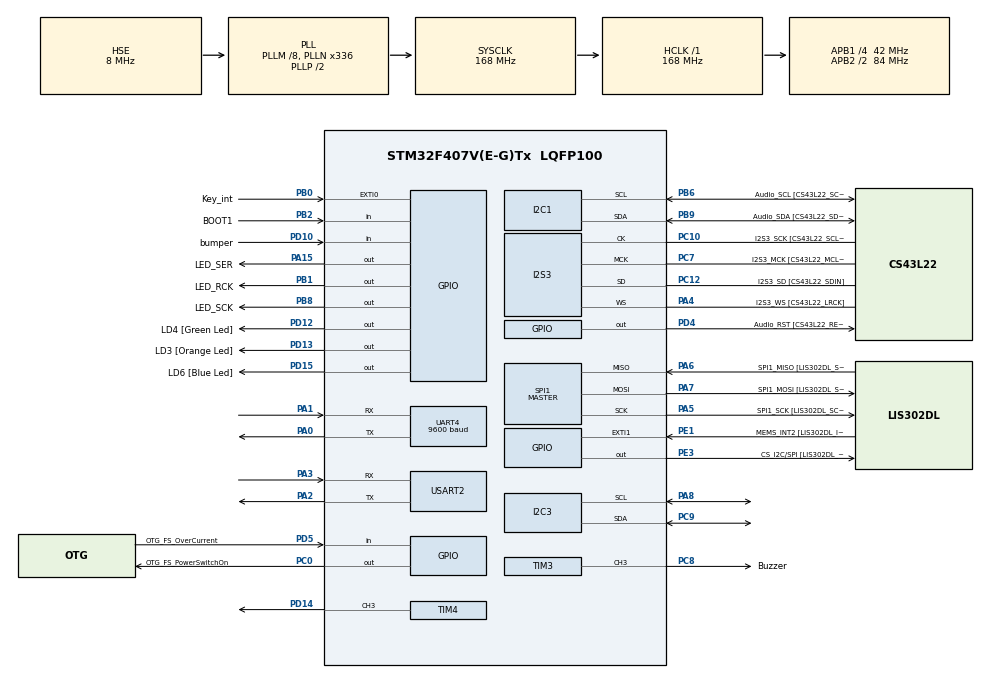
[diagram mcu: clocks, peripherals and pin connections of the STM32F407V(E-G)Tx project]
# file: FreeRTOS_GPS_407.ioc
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FREERTOS.INCLUDE_pcTaskGetTaskName=1
FREERTOS.INCLUDE_xEventGroupSetBitFromISR=1
FREERTOS.INCLUDE_xTaskGetHandle=1
FREERTOS.Tasks01=defaultTask,24,128,StartDefaultTask,Default,NULL,Dynamic,NULL,NULL
FREERTOS.configUSE_NEWLIB_REENTRANT=1
I2S3.AudioFreq-Half_Duplex_Master=I2S_AUDIOFREQ_96K
I2S3.ErrorAudioFreq=-2.34 %
I2S3.ErrorAudioFreq-Half_Duplex_Master=0.8 %
I2S3.FullDuplexMode=I2S_FULLDUPLEXMODE_DISABLE
I2S3.Instance=SPI$Index
I2S3.RealAudioFreq=93.75 KHz
I2S3.RealAudioFreq-Half_Duplex_Master=96.774 KHz
I2S3.VirtualMode=I2S_MODE_MASTER
Mcu.Family=STM32F4
Mcu.Name=STM32F407V(E-G)Tx
Mcu.Package=LQFP100
NVIC.EXTI0_IRQn=true\:5\:0\:false\:false\:true\:true\:true\:true\:true
NVIC.PriorityGroup=NVIC_PRIORITYGROUP_4
NVIC.TIM1_UP_TIM10_IRQn=true\:0\:0\:false\:false\:true\:false\:false\:true\:true
NVIC.TimeBase=TIM1_UP_TIM10_IRQn
NVIC.TimeBaseIP=TIM1
NVIC.UART4_IRQn=true\:5\:0\:false\:false\:true\:true\:true\:true\:true
NVIC.USART2_IRQn=true\:5\:0\:false\:false\:true\:true\:true\:true\:true
PA0-WKUP.Mode=Asynchronous
PA0-WKUP.Signal=UART4_TX
PA1.Mode=Asynchronous
PA1.Signal=UART4_RX
PA10.GPIO_Label=OTG_FS_ID
PA10.GPIO_Mode=GPIO_MODE_AF_PP
PA10.GPIO_PuPd=GPIO_NOPULL
PA10.GPIO_Speed=GPIO_SPEED_FREQ_LOW
PA10.Signal=USB_OTG_FS_ID
PA11.GPIO_Label=OTG_FS_DM
PA11.GPIO_Mode=GPIO_MODE_AF_PP
PA11.GPIO_PuPd=GPIO_NOPULL
PA11.GPIO_Speed=GPIO_SPEED_FREQ_LOW
PA11.Signal=USB_OTG_FS_DM
PA12.GPIO_Label=OTG_FS_DP
PA12.GPIO_Mode=GPIO_MODE_AF_PP
PA12.GPIO_PuPd=GPIO_NOPULL
PA12.GPIO_Speed=GPIO_SPEED_FREQ_LOW
PA12.Signal=USB_OTG_FS_DP
PA13.GPIO_Label=SWDIO
PA13.Mode=Serial_Wire
PA13.Signal=SYS_JTMS-SWDIO
PA14.GPIO_Label=SWCLK
PA14.Mode=Serial_Wire
PA14.Signal=SYS_JTCK-SWCLK
PA15.GPIO_Label=LED_SER
PA15.Signal=GPIO_Output
PA2.Mode=Asynchronous
PA2.Signal=USART2_TX
PA3.Mode=Asynchronous
PA3.Signal=USART2_RX
PA4.GPIO_Label=I2S3_WS [CS43L22_LRCK]
PA4.GPIO_Mode=GPIO_MODE_AF_PP
PA4.GPIO_PuPd=GPIO_NOPULL
PA4.GPIO_Speed=GPIO_SPEED_FREQ_LOW
PA4.Mode=Half_Duplex_Master
PA4.Signal=I2S3_WS
PA5.GPIO_Label=SPI1_SCK [LIS302DL_SCL/SPC]
PA5.GPIO_Mode=GPIO_MODE_AF_PP
PA5.GPIO_PuPd=GPIO_NOPULL
PA5.GPIO_Speed=GPIO_SPEED_FREQ_LOW
PA5.Mode=Full_Duplex_Master
PA5.Signal=SPI1_SCK
PA6.GPIO_Label=SPI1_MISO [LIS302DL_SDO]
PA6.GPIO_Mode=GPIO_MODE_AF_PP
PA6.GPIO_PuPd=GPIO_NOPULL
PA6.GPIO_Speed=GPIO_SPEED_FREQ_LOW
PA6.Mode=Full_Duplex_Master
PA6.Signal=SPI1_MISO
PA7.GPIO_Label=SPI1_MOSI [LIS302DL_SDA/SDI/SDO]
PA7.GPIO_Mode=GPIO_MODE_AF_PP
PA7.GPIO_PuPd=GPIO_NOPULL
PA7.GPIO_Speed=GPIO_SPEED_FREQ_LOW
PA7.Mode=Full_Duplex_Master
PA7.Signal=SPI1_MOSI
PA8.Mode=I2C
PA8.Signal=I2C3_SCL
PA9.GPIO_Label=VBUS_FS
PA9.GPIO_Mode=GPIO_MODE_INPUT
PA9.GPIO_PuPd=GPIO_NOPULL
PA9.Signal=USB_OTG_FS_VBUS
PB0.GPIO_Label=Key_int
PB0.Signal=GPXTI0
PB1.GPIO_Label=LED_RCK
PB1.Signal=GPIO_Output
PB10.GPIO_Label=CLK_IN [MP45DT02_CLK]
PB10.GPIO_Mode=GPIO_MODE_AF_PP
PB10.GPIO_PuPd=GPIO_NOPULL
PB10.GPIO_Speed=GPIO_SPEED_FREQ_LOW
PB10.Signal=I2S2_CK
PB2.GPIO_Label=BOOT1
PB2.GPIO_Mode=GPIO_MODE_INPUT
PB2.GPIO_PuPd=GPIO_NOPULL
PB2.Signal=GPIO_Input
PB3.GPIO_Label=SWO
PB3.Signal=SYS_JTDO-SWO
PB6.GPIO_Label=Audio_SCL [CS43L22_SCL]
PB6.GPIO_Mode=GPIO_MODE_AF_OD
PB6.GPIO_Pu=GPIO_PULLUP
PB6.GPIO_PuPd=GPIO_NOPULL
PB6.GPIO_Speed=GPIO_SPEED_FREQ_LOW
PB6.Mode=I2C
PB6.Signal=I2C1_SCL
PB8.GPIO_Label=LED_SCK
PB8.Signal=GPIO_Output
PB9.GPIO_Label=Audio_SDA [CS43L22_SDA]
PB9.GPIO_Mode=GPIO_MODE_AF_OD
PB9.GPIO_Pu=GPIO_PULLUP
PB9.GPIO_PuPd=GPIO_NOPULL
PB9.GPIO_Speed=GPIO_SPEED_FREQ_LOW
PB9.Mode=I2C
PB9.Signal=I2C1_SDA
PC0.GPIO_Label=OTG_FS_PowerSwitchOn
PC0.GPIO_PuPd=GPIO_NOPULL
PC0.GPIO_Speed=GPIO_SPEED_FREQ_LOW
PC0.PinState=GPIO_PIN_SET
PC0.Signal=GPIO_Output
PC10.GPIO_Label=I2S3_SCK [CS43L22_SCLK]
PC10.GPIO_Mode=GPIO_MODE_AF_PP
PC10.GPIO_PuPd=GPIO_NOPULL
PC10.GPIO_Speed=GPIO_SPEED_FREQ_LOW
PC10.Mode=Half_Duplex_Master
PC10.Signal=I2S3_CK
PC12.GPIO_Label=I2S3_SD [CS43L22_SDIN]
PC12.GPIO_Mode=GPIO_MODE_AF_PP
PC12.GPIO_PuPd=GPIO_NOPULL
PC12.GPIO_Speed=GPIO_SPEED_FREQ_LOW
PC12.Mode=Half_Duplex_Master
PC12.Signal=I2S3_SD
PC14-OSC32_IN.GPIO_Label=PC14-OSC32_IN
PC14-OSC32_IN.Mode=LSE-External-Oscillator
PC14-OSC32_IN.Signal=RCC_OSC32_IN
PC15-OSC32_OUT.GPIO_Label=PC15-OSC32_OUT
PC15-OSC32_OUT.Mode=LSE-External-Oscillator
PC15-OSC32_OUT.Signal=RCC_OSC32_OUT
PC3.GPIO_Label=PDM_OUT [MP45DT02_DOUT]
PC3.GPIO_Mode=GPIO_MODE_AF_PP
PC3.GPIO_PuPd=GPIO_NOPULL
PC3.GPIO_Speed=GPIO_SPEED_FREQ_LOW
PC3.Signal=I2S2_SD
PC7.GPIO_Label=I2S3_MCK [CS43L22_MCLK]
PC7.GPIO_Mode=GPIO_MODE_AF_PP
PC7.GPIO_PuPd=GPIO_NOPULL
PC7.GPIO_Speed=GPIO_SPEED_FREQ_LOW
PC7.Mode=Master_Clock_Activated
PC7.Signal=I2S3_MCK
PC8.GPIO_Label=Buzzer
PC8.GPIO_Speed=GPIO_SPEED_FREQ_MEDIUM
PC8.Signal=S_TIM3_CH3
PC9.Mode=I2C
PC9.Signal=I2C3_SDA
PD10.GPIO_Label=bumper
PD10.GPIO_PuPd=GPIO_PULLUP
PD10.Signal=GPIO_Input
PD12.GPIO_Label=LD4 [Green Led]
PD12.GPIO_PuPd=GPIO_NOPULL
PD12.GPIO_Speed=GPIO_SPEED_FREQ_LOW
PD12.Signal=GPIO_Output
PD13.GPIO_Label=LD3 [Orange Led]
PD13.GPIO_PuPd=GPIO_NOPULL
PD13.GPIO_Speed=GPIO_SPEED_FREQ_LOW
PD13.Signal=GPIO_Output
PD14.Signal=S_TIM4_CH3
PD15.GPIO_Label=LD6 [Blue Led]
PD15.GPIO_PuPd=GPIO_NOPULL
PD15.GPIO_Speed=GPIO_SPEED_FREQ_LOW
PD15.Signal=GPIO_Output
PD4.GPIO_Label=Audio_RST [CS43L22_RESET]
PD4.GPIO_PuPd=GPIO_NOPULL
PD4.GPIO_Speed=GPIO_SPEED_FREQ_LOW
PD4.Signal=GPIO_Output
PD5.GPIO_Label=OTG_FS_OverCurrent
PD5.GPIO_Mode=GPIO_MODE_INPUT
PD5.GPIO_PuPd=GPIO_NOPULL
PD5.Signal=GPIO_Input
PE1.GPIO_Label=MEMS_INT2 [LIS302DL_INT2]
PE1.GPIO_ModeDefaultEXTI=GPIO_MODE_EVT_RISING
PE1.GPIO_PuPd=GPIO_NOPULL
PE1.Signal=GPXTI1
PE3.GPIO_Label=CS_I2C/SPI [LIS302DL_CS_I2C/SPI]
PE3.GPIO_PuPd=GPIO_NOPULL
PE3.GPIO_Speed=GPIO_SPEED_FREQ_LOW
PE3.Signal=GPIO_Output
PH0-OSC_IN.GPIO_Label=PH0-OSC_IN
PH0-OSC_IN.Mode=HSE-External-Oscillator
PH0-OSC_IN.Signal=RCC_OSC_IN
PH1-OSC_OUT.GPIO_Label=PH1-OSC_OUT
PH1-OSC_OUT.Mode=HSE-External-Oscillator
PH1-OSC_OUT.Signal=RCC_OSC_OUT
ProjectManager.HeapSize=0x200
ProjectManager.StackSize=0x400
ProjectManager.TargetToolchain=STM32CubeIDE
RCC.48MHZClocksFreq_Value=48000000
RCC.AHBFreq_Value=168000000
RCC.APB1CLKDivider=RCC_HCLK_DIV4
RCC.APB1Freq_Value=42000000
RCC.APB1TimFreq_Value=84000000
RCC.APB2CLKDivider=RCC_HCLK_DIV2
RCC.APB2Freq_Value=84000000
RCC.APB2TimFreq_Value=168000000
RCC.CortexFreq_Value=168000000
RCC.HCLKFreq_Value=168000000
RCC.HSE_VALUE=8000000
RCC.HSI_VALUE=16000000
RCC.PLLM=8
RCC.PLLN=336
RCC.PLLQ=7
RCC.PLLSourceVirtual=RCC_PLLSOURCE_HSE
RCC.SYSCLKFreq_VALUE=168000000
RCC.SYSCLKSource=RCC_SYSCLKSOURCE_PLLCLK
RCC.VCOOutputFreq_Value=336000000
SH.S_TIM3_CH3.0=TIM3_CH3,PWM Generation3 CH3
SH.S_TIM4_CH3.0=TIM4_CH3,PWM Generation3 CH3
SPI1.BaudRatePrescaler-Full_Duplex_Master=SPI_BAUDRATEPRESCALER_2
SPI1.CalculateBaudRate-Full_Duplex_Master=42.0 MBits/s
SPI1.Direction=SPI_DIRECTION_2LINES
SPI1.Mode=SPI_MODE_MASTER
SPI1.Mode-Full_Duplex_Master=SPI_MODE_MASTER
SPI1.VirtualType=VM_MASTER
TIM3.AutoReloadPreload=TIM_AUTORELOAD_PRELOAD_ENABLE
TIM3.Channel-PWM\ Generation3\ CH3=TIM_CHANNEL_3
TIM3.ClockDivision=TIM_CLOCKDIVISION_DIV4
TIM3.Period=100
TIM3.Prescaler=1050-1
TIM3.Pulse-PWM\ Generation3\ CH3=50
TIM3.TIM_MasterSlaveMode=TIM_MASTERSLAVEMODE_DISABLE
TIM4.AutoReloadPreload=TIM_AUTORELOAD_PRELOAD_ENABLE
TIM4.Channel-PWM\ Generation3\ CH3=TIM_CHANNEL_3
TIM4.Period=1000
TIM4.Prescaler=1680
TIM4.Pulse-PWM\ Generation3\ CH3=1000*0.1
UART4.BaudRate=9600
UART4.VirtualMode=Asynchronous
USART2.VirtualMode=VM_ASYNC
VP_FREERTOS_VS_CMSIS_V2.Mode=CMSIS_V2
VP_SYS_VS_tim1.Mode=TIM1
VP_TIM3_VS_ClockSourceINT.Mode=Internal
VP_TIM4_VS_ClockSourceINT.Mode=Internal
board=STM32F407G-DISC1

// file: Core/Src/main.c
/* USER CODE BEGIN Header */
/**
  ******************************************************************************
  * @file           : main.c
  * @brief          : Main program body
  ******************************************************************************
  * @attention Het grootste deel van deze main.c wordt gegenereerd door STM.
  * Eigen code bevindt zich op 'gereserveerde' plekken, wees daar voorzichtig mee.
  * Om deze reden heb ik zo min mogelijk 'eigen code' toegevoegd.
  *
  * <h2><center>&copy; Copyright (c) 2021 STMicroelectronics.
  * All rights reserved.</center></h2>
  *
  * This software component is licensed by ST under Ultimate Liberty license
  * SLA0044, the "License"; You may not use this file except in compliance with
  * the License. You may obtain a copy of the License at:
  *                             www.st.com/SLA0044
  *
  ******************************************************************************
  */
/* USER CODE END Header */
#include "main.h"
#include "cmsis_os.h"

/* USER CODE BEGIN Includes */
#include "admin.h"
#include "lcdout.h"
#include "QMC5883L.h"
/* USER CODE END Includes */

I2C_HandleTypeDef hi2c1;
I2C_HandleTypeDef hi2c3;

I2S_HandleTypeDef hi2s3;

SPI_HandleTypeDef hspi1;

TIM_HandleTypeDef htim3;
TIM_HandleTypeDef htim4;

UART_HandleTypeDef huart4;
UART_HandleTypeDef huart2;

/* Definitions for defaultTask */
osThreadId_t defaultTaskHandle;
const osThreadAttr_t defaultTask_attributes = {
  .name = "defaultTask",
  .stack_size = 128 * 4,
  .priority = (osPriority_t) osPriorityNormal,
};

void SystemClock_Config(void);
static void MX_GPIO_Init(void);
static void MX_I2C1_Init(void);
static void MX_I2S3_Init(void);
static void MX_SPI1_Init(void);
static void MX_USART2_UART_Init(void);
static void MX_UART4_Init(void);
static void MX_I2C3_Init(void);
static void MX_TIM3_Init(void);
static void MX_TIM4_Init(void);
void StartDefaultTask(void *argument);

/* USER CODE BEGIN 0 */
void set_servo(double pwm)
{

	  TIM_OC_InitTypeDef sConfigOC = {0};
	  sConfigOC.OCMode = TIM_OCMODE_PWM1;
	  sConfigOC.Pulse = 1000*pwm;
	  sConfigOC.OCPolarity = TIM_OCPOLARITY_HIGH;
	  sConfigOC.OCFastMode = TIM_OCFAST_DISABLE;
	  HAL_TIM_PWM_ConfigChannel(&htim4, &sConfigOC, TIM_CHANNEL_3);
}
/* USER CODE END 0 */

int main(void)
{

  /* MCU Configuration--------------------------------------------------------*/

  /* Reset of all peripherals, Initializes the Flash interface and the Systick. */
  HAL_Init();

  /* Configure the system clock */
  SystemClock_Config();

  /* Initialize all configured peripherals */
  MX_GPIO_Init();
  MX_I2C1_Init();
  MX_I2S3_Init();
  MX_SPI1_Init();
  MX_USART2_UART_Init();
  MX_UART4_Init();
  MX_I2C3_Init();
  MX_TIM3_Init();
  MX_TIM4_Init();
  /* USER CODE BEGIN 2 */

  HAL_TIM_PWM_Start(&htim4, TIM_CHANNEL_3);

  HAL_Delay(500);
  lcdout_init();
  KEYS_init();
  KEYS_initISR(1); // set all lines high once
  LED_init();

  /* Check for errors */
  lcdout_printf("");
  int qmc58831_mag_err = qmc58831_init(&hi2c3);
  if(qmc58831_mag_err)
  {
	  lcdout_printf("Compass error\n%d",qmc58831_mag_err);
	  osDelay(1000);
  }

  DisplayVersion();
  osDelay(500); // time to read version

  /* USER CODE END 2 */

  /* Init scheduler */
  osKernelInitialize();

  /* Create the thread(s) */
  /* creation of defaultTask */
  defaultTaskHandle = osThreadNew(StartDefaultTask, NULL, &defaultTask_attributes);

  /* Start scheduler */
  osKernelStart();

  /* We should never get here as control is now taken by the scheduler */

  /* Infinite loop */
  while (1)
  {

  }
}

void SystemClock_Config(void)
{
  RCC_OscInitTypeDef RCC_OscInitStruct = {0};
  RCC_ClkInitTypeDef RCC_ClkInitStruct = {0};

  /** Configure the main internal regulator output voltage
  */
  __HAL_RCC_PWR_CLK_ENABLE();
  __HAL_PWR_VOLTAGESCALING_CONFIG(PWR_REGULATOR_VOLTAGE_SCALE1);

  /** Initializes the RCC Oscillators according to the specified parameters
  * in the RCC_OscInitTypeDef structure.
  */
  RCC_OscInitStruct.OscillatorType = RCC_OSCILLATORTYPE_HSE;
  RCC_OscInitStruct.HSEState = RCC_HSE_ON;
  RCC_OscInitStruct.PLL.PLLState = RCC_PLL_ON;
  RCC_OscInitStruct.PLL.PLLSource = RCC_PLLSOURCE_HSE;
  RCC_OscInitStruct.PLL.PLLM = 8;
  RCC_OscInitStruct.PLL.PLLN = 336;
  RCC_OscInitStruct.PLL.PLLP = RCC_PLLP_DIV2;
  RCC_OscInitStruct.PLL.PLLQ = 7;
  if (HAL_RCC_OscConfig(&RCC_OscInitStruct) != HAL_OK)
  {
    Error_Handler();
  }

  /** Initializes the CPU, AHB and APB buses clocks
  */
  RCC_ClkInitStruct.ClockType = RCC_CLOCKTYPE_HCLK|RCC_CLOCKTYPE_SYSCLK
                              |RCC_CLOCKTYPE_PCLK1|RCC_CLOCKTYPE_PCLK2;
  RCC_ClkInitStruct.SYSCLKSource = RCC_SYSCLKSOURCE_PLLCLK;
  RCC_ClkInitStruct.AHBCLKDivider = RCC_SYSCLK_DIV1;
  RCC_ClkInitStruct.APB1CLKDivider = RCC_HCLK_DIV4;
  RCC_ClkInitStruct.APB2CLKDivider = RCC_HCLK_DIV2;

  if (HAL_RCC_ClockConfig(&RCC_ClkInitStruct, FLASH_LATENCY_5) != HAL_OK)
  {
    Error_Handler();
  }
}

static void MX_I2C1_Init(void)
{

  hi2c1.Instance = I2C1;
  hi2c1.Init.ClockSpeed = 100000;
  hi2c1.Init.DutyCycle = I2C_DUTYCYCLE_2;
  hi2c1.Init.OwnAddress1 = 0;
  hi2c1.Init.AddressingMode = I2C_ADDRESSINGMODE_7BIT;
  hi2c1.Init.DualAddressMode = I2C_DUALADDRESS_DISABLE;
  hi2c1.Init.OwnAddress2 = 0;
  hi2c1.Init.GeneralCallMode = I2C_GENERALCALL_DISABLE;
  hi2c1.Init.NoStretchMode = I2C_NOSTRETCH_DISABLE;
  if (HAL_I2C_Init(&hi2c1) != HAL_OK)
  {
    Error_Handler();
  }

}

static void MX_I2C3_Init(void)
{

  hi2c3.Instance = I2C3;
  hi2c3.Init.ClockSpeed = 100000;
  hi2c3.Init.DutyCycle = I2C_DUTYCYCLE_2;
  hi2c3.Init.OwnAddress1 = 0;
  hi2c3.Init.AddressingMode = I2C_ADDRESSINGMODE_7BIT;
  hi2c3.Init.DualAddressMode = I2C_DUALADDRESS_DISABLE;
  hi2c3.Init.OwnAddress2 = 0;
  hi2c3.Init.GeneralCallMode = I2C_GENERALCALL_DISABLE;
  hi2c3.Init.NoStretchMode = I2C_NOSTRETCH_DISABLE;
  if (HAL_I2C_Init(&hi2c3) != HAL_OK)
  {
    Error_Handler();
  }

}

static void MX_I2S3_Init(void)
{

  hi2s3.Instance = SPI3;
  hi2s3.Init.Mode = I2S_MODE_MASTER_TX;
  hi2s3.Init.Standard = I2S_STANDARD_PHILIPS;
  hi2s3.Init.DataFormat = I2S_DATAFORMAT_16B;
  hi2s3.Init.MCLKOutput = I2S_MCLKOUTPUT_ENABLE;
  hi2s3.Init.AudioFreq = I2S_AUDIOFREQ_96K;
  hi2s3.Init.CPOL = I2S_CPOL_LOW;
  hi2s3.Init.ClockSource = I2S_CLOCK_PLL;
  hi2s3.Init.FullDuplexMode = I2S_FULLDUPLEXMODE_DISABLE;
  if (HAL_I2S_Init(&hi2s3) != HAL_OK)
  {
    Error_Handler();
  }

}

static void MX_SPI1_Init(void)
{

  /* SPI1 parameter configuration*/
  hspi1.Instance = SPI1;
  hspi1.Init.Mode = SPI_MODE_MASTER;
  hspi1.Init.Direction = SPI_DIRECTION_2LINES;
  hspi1.Init.DataSize = SPI_DATASIZE_8BIT;
  hspi1.Init.CLKPolarity = SPI_POLARITY_LOW;
  hspi1.Init.CLKPhase = SPI_PHASE_1EDGE;
  hspi1.Init.NSS = SPI_NSS_SOFT;
  hspi1.Init.BaudRatePrescaler = SPI_BAUDRATEPRESCALER_2;
  hspi1.Init.FirstBit = SPI_FIRSTBIT_MSB;
  hspi1.Init.TIMode = SPI_TIMODE_DISABLE;
  hspi1.Init.CRCCalculation = SPI_CRCCALCULATION_DISABLE;
  hspi1.Init.CRCPolynomial = 10;
  if (HAL_SPI_Init(&hspi1) != HAL_OK)
  {
    Error_Handler();
  }

}

static void MX_TIM3_Init(void)
{

  TIM_ClockConfigTypeDef sClockSourceConfig = {0};
  TIM_MasterConfigTypeDef sMasterConfig = {0};
  TIM_OC_InitTypeDef sConfigOC = {0};

  htim3.Instance = TIM3;
  htim3.Init.Prescaler = 1050-1;
  htim3.Init.CounterMode = TIM_COUNTERMODE_UP;
  htim3.Init.Period = 100;
  htim3.Init.ClockDivision = TIM_CLOCKDIVISION_DIV4;
  htim3.Init.AutoReloadPreload = TIM_AUTORELOAD_PRELOAD_ENABLE;
  if (HAL_TIM_Base_Init(&htim3) != HAL_OK)
  {
    Error_Handler();
  }
  sClockSourceConfig.ClockSource = TIM_CLOCKSOURCE_INTERNAL;
  if (HAL_TIM_ConfigClockSource(&htim3, &sClockSourceConfig) != HAL_OK)
  {
    Error_Handler();
  }
  if (HAL_TIM_PWM_Init(&htim3) != HAL_OK)
  {
    Error_Handler();
  }
  sMasterConfig.MasterOutputTrigger = TIM_TRGO_RESET;
  sMasterConfig.MasterSlaveMode = TIM_MASTERSLAVEMODE_DISABLE;
  if (HAL_TIMEx_MasterConfigSynchronization(&htim3, &sMasterConfig) != HAL_OK)
  {
    Error_Handler();
  }
  sConfigOC.OCMode = TIM_OCMODE_PWM1;
  sConfigOC.Pulse = 50;
  sConfigOC.OCPolarity = TIM_OCPOLARITY_HIGH;
  sConfigOC.OCFastMode = TIM_OCFAST_DISABLE;
  if (HAL_TIM_PWM_ConfigChannel(&htim3, &sConfigOC, TIM_CHANNEL_3) != HAL_OK)
  {
    Error_Handler();
  }
  HAL_TIM_MspPostInit(&htim3);

}

static void MX_TIM4_Init(void)
{

  TIM_ClockConfigTypeDef sClockSourceConfig = {0};
  TIM_MasterConfigTypeDef sMasterConfig = {0};
  TIM_OC_InitTypeDef sConfigOC = {0};

  htim4.Instance = TIM4;
  htim4.Init.Prescaler = 1680;
  htim4.Init.CounterMode = TIM_COUNTERMODE_UP;
  htim4.Init.Period = 1000;
  htim4.Init.ClockDivision = TIM_CLOCKDIVISION_DIV1;
  htim4.Init.AutoReloadPreload = TIM_AUTORELOAD_PRELOAD_ENABLE;
  if (HAL_TIM_Base_Init(&htim4) != HAL_OK)
  {
    Error_Handler();
  }
  sClockSourceConfig.ClockSource = TIM_CLOCKSOURCE_INTERNAL;
  if (HAL_TIM_ConfigClockSource(&htim4, &sClockSourceConfig) != HAL_OK)
  {
    Error_Handler();
  }
  if (HAL_TIM_PWM_Init(&htim4) != HAL_OK)
  {
    Error_Handler();
  }
  sMasterConfig.MasterOutputTrigger = TIM_TRGO_RESET;
  sMasterConfig.MasterSlaveMode = TIM_MASTERSLAVEMODE_DISABLE;
  if (HAL_TIMEx_MasterConfigSynchronization(&htim4, &sMasterConfig) != HAL_OK)
  {
    Error_Handler();
  }
  sConfigOC.OCMode = TIM_OCMODE_PWM1;
  sConfigOC.Pulse = 1000*0.1;
  sConfigOC.OCPolarity = TIM_OCPOLARITY_HIGH;
  sConfigOC.OCFastMode = TIM_OCFAST_DISABLE;
  if (HAL_TIM_PWM_ConfigChannel(&htim4, &sConfigOC, TIM_CHANNEL_3) != HAL_OK)
  {
    Error_Handler();
  }
  HAL_TIM_MspPostInit(&htim4);

}

static void MX_UART4_Init(void)
{

  huart4.Instance = UART4;
  huart4.Init.BaudRate = 9600;
  huart4.Init.WordLength = UART_WORDLENGTH_8B;
  huart4.Init.StopBits = UART_STOPBITS_1;
  huart4.Init.Parity = UART_PARITY_NONE;
  huart4.Init.Mode = UART_MODE_TX_RX;
  huart4.Init.HwFlowCtl = UART_HWCONTROL_NONE;
  huart4.Init.OverSampling = UART_OVERSAMPLING_16;
  if (HAL_UART_Init(&huart4) != HAL_OK)
  {
    Error_Handler();
  }

}

static void MX_USART2_UART_Init(void)
{

  huart2.Instance = USART2;
  huart2.Init.BaudRate = 115200;
  huart2.Init.WordLength = UART_WORDLENGTH_8B;
  huart2.Init.StopBits = UART_STOPBITS_1;
  huart2.Init.Parity = UART_PARITY_NONE;
  huart2.Init.Mode = UART_MODE_TX_RX;
  huart2.Init.HwFlowCtl = UART_HWCONTROL_NONE;
  huart2.Init.OverSampling = UART_OVERSAMPLING_16;
  if (HAL_UART_Init(&huart2) != HAL_OK)
  {
    Error_Handler();
  }

}

static void MX_GPIO_Init(void)
{
  GPIO_InitTypeDef GPIO_InitStruct = {0};

  /* GPIO Ports Clock Enable */
  __HAL_RCC_GPIOE_CLK_ENABLE();
  __HAL_RCC_GPIOC_CLK_ENABLE();
  __HAL_RCC_GPIOH_CLK_ENABLE();
  __HAL_RCC_GPIOA_CLK_ENABLE();
  __HAL_RCC_GPIOB_CLK_ENABLE();
  __HAL_RCC_GPIOD_CLK_ENABLE();

  /*Configure GPIO pin Output Level */
  HAL_GPIO_WritePin(CS_I2C_SPI_GPIO_Port, CS_I2C_SPI_Pin, GPIO_PIN_RESET);

  /*Configure GPIO pin Output Level */
  HAL_GPIO_WritePin(OTG_FS_PowerSwitchOn_GPIO_Port, OTG_FS_PowerSwitchOn_Pin, GPIO_PIN_SET);

  /*Configure GPIO pin Output Level */
  HAL_GPIO_WritePin(GPIOB, LED_RCK_Pin|LED_SCK_Pin, GPIO_PIN_RESET);

  /*Configure GPIO pin Output Level */
  HAL_GPIO_WritePin(GPIOD, LD4_Pin|LD3_Pin|LD6_Pin|Audio_RST_Pin, GPIO_PIN_RESET);

  /*Configure GPIO pin Output Level */
  HAL_GPIO_WritePin(LED_SER_GPIO_Port, LED_SER_Pin, GPIO_PIN_RESET);

  /*Configure GPIO pin : CS_I2C_SPI_Pin */
  GPIO_InitStruct.Pin = CS_I2C_SPI_Pin;
  GPIO_InitStruct.Mode = GPIO_MODE_OUTPUT_PP;
  GPIO_InitStruct.Pull = GPIO_NOPULL;
  GPIO_InitStruct.Speed = GPIO_SPEED_FREQ_LOW;
  HAL_GPIO_Init(CS_I2C_SPI_GPIO_Port, &GPIO_InitStruct);

  /*Configure GPIO pin : OTG_FS_PowerSwitchOn_Pin */
  GPIO_InitStruct.Pin = OTG_FS_PowerSwitchOn_Pin;
  GPIO_InitStruct.Mode = GPIO_MODE_OUTPUT_PP;
  GPIO_InitStruct.Pull = GPIO_NOPULL;
  GPIO_InitStruct.Speed = GPIO_SPEED_FREQ_LOW;
  HAL_GPIO_Init(OTG_FS_PowerSwitchOn_GPIO_Port, &GPIO_InitStruct);

  /*Configure GPIO pin : PDM_OUT_Pin */
  GPIO_InitStruct.Pin = PDM_OUT_Pin;
  GPIO_InitStruct.Mode = GPIO_MODE_AF_PP;
  GPIO_InitStruct.Pull = GPIO_NOPULL;
  GPIO_InitStruct.Speed = GPIO_SPEED_FREQ_LOW;
  GPIO_InitStruct.Alternate = GPIO_AF5_SPI2;
  HAL_GPIO_Init(PDM_OUT_GPIO_Port, &GPIO_InitStruct);

  /*Configure GPIO pin : Key_int_Pin */
  GPIO_InitStruct.Pin = Key_int_Pin;
  GPIO_InitStruct.Mode = GPIO_MODE_IT_RISING;
  GPIO_InitStruct.Pull = GPIO_NOPULL;
  HAL_GPIO_Init(Key_int_GPIO_Port, &GPIO_InitStruct);

  /*Configure GPIO pins : LED_RCK_Pin LED_SCK_Pin */
  GPIO_InitStruct.Pin = LED_RCK_Pin|LED_SCK_Pin;
  GPIO_InitStruct.Mode = GPIO_MODE_OUTPUT_PP;
  GPIO_InitStruct.Pull = GPIO_NOPULL;
  GPIO_InitStruct.Speed = GPIO_SPEED_FREQ_LOW;
  HAL_GPIO_Init(GPIOB, &GPIO_InitStruct);

  /*Configure GPIO pin : BOOT1_Pin */
  GPIO_InitStruct.Pin = BOOT1_Pin;
  GPIO_InitStruct.Mode = GPIO_MODE_INPUT;
  GPIO_InitStruct.Pull = GPIO_NOPULL;
  HAL_GPIO_Init(BOOT1_GPIO_Port, &GPIO_InitStruct);

  /*Configure GPIO pin : CLK_IN_Pin */
  GPIO_InitStruct.Pin = CLK_IN_Pin;
  GPIO_InitStruct.Mode = GPIO_MODE_AF_PP;
  GPIO_InitStruct.Pull = GPIO_NOPULL;
  GPIO_InitStruct.Speed = GPIO_SPEED_FREQ_LOW;
  GPIO_InitStruct.Alternate = GPIO_AF5_SPI2;
  HAL_GPIO_Init(CLK_IN_GPIO_Port, &GPIO_InitStruct);

  /*Configure GPIO pin : bumper_Pin */
  GPIO_InitStruct.Pin = bumper_Pin;
  GPIO_InitStruct.Mode = GPIO_MODE_INPUT;
  GPIO_InitStruct.Pull = GPIO_PULLUP;
  HAL_GPIO_Init(bumper_GPIO_Port, &GPIO_InitStruct);

  /*Configure GPIO pins : LD4_Pin LD3_Pin LD6_Pin Audio_RST_Pin */
  GPIO_InitStruct.Pin = LD4_Pin|LD3_Pin|LD6_Pin|Audio_RST_Pin;
  GPIO_InitStruct.Mode = GPIO_MODE_OUTPUT_PP;
  GPIO_InitStruct.Pull = GPIO_NOPULL;
  GPIO_InitStruct.Speed = GPIO_SPEED_FREQ_LOW;
  HAL_GPIO_Init(GPIOD, &GPIO_InitStruct);

  /*Configure GPIO pin : VBUS_FS_Pin */
  GPIO_InitStruct.Pin = VBUS_FS_Pin;
  GPIO_InitStruct.Mode = GPIO_MODE_INPUT;
  GPIO_InitStruct.Pull = GPIO_NOPULL;
  HAL_GPIO_Init(VBUS_FS_GPIO_Port, &GPIO_InitStruct);

  /*Configure GPIO pins : OTG_FS_ID_Pin OTG_FS_DM_Pin OTG_FS_DP_Pin */
  GPIO_InitStruct.Pin = OTG_FS_ID_Pin|OTG_FS_DM_Pin|OTG_FS_DP_Pin;
  GPIO_InitStruct.Mode = GPIO_MODE_AF_PP;
  GPIO_InitStruct.Pull = GPIO_NOPULL;
  GPIO_InitStruct.Speed = GPIO_SPEED_FREQ_LOW;
  GPIO_InitStruct.Alternate = GPIO_AF10_OTG_FS;
  HAL_GPIO_Init(GPIOA, &GPIO_InitStruct);

  /*Configure GPIO pin : LED_SER_Pin */
  GPIO_InitStruct.Pin = LED_SER_Pin;
  GPIO_InitStruct.Mode = GPIO_MODE_OUTPUT_PP;
  GPIO_InitStruct.Pull = GPIO_NOPULL;
  GPIO_InitStruct.Speed = GPIO_SPEED_FREQ_LOW;
  HAL_GPIO_Init(LED_SER_GPIO_Port, &GPIO_InitStruct);

  /*Configure GPIO pin : OTG_FS_OverCurrent_Pin */
  GPIO_InitStruct.Pin = OTG_FS_OverCurrent_Pin;
  GPIO_InitStruct.Mode = GPIO_MODE_INPUT;
  GPIO_InitStruct.Pull = GPIO_NOPULL;
  HAL_GPIO_Init(OTG_FS_OverCurrent_GPIO_Port, &GPIO_InitStruct);

  /*Configure GPIO pin : MEMS_INT2_Pin */
  GPIO_InitStruct.Pin = MEMS_INT2_Pin;
  GPIO_InitStruct.Mode = GPIO_MODE_EVT_RISING;
  GPIO_InitStruct.Pull = GPIO_NOPULL;
  HAL_GPIO_Init(MEMS_INT2_GPIO_Port, &GPIO_InitStruct);

  /* EXTI interrupt init*/
  HAL_NVIC_SetPriority(EXTI0_IRQn, 5, 0);
  HAL_NVIC_EnableIRQ(EXTI0_IRQn);

}

/* USER CODE BEGIN 4 */

/* only used in UART interrupt mode. Now configured as local UART echo*/

/**
  * @brief  ISR die UART-characters op een Queue zet. De core-functie wordt gegenereerd.
  * <p>Demonstreert: xQueueSendFromISR(); portYIELD_FROM_ISR();</p>
  * @param huart
  * @return void.
  */
void HAL_UART_RxCpltCallback(UART_HandleTypeDef *huart)
{
	unsigned char       uart4_char, uart2_char;
	BaseType_t          xHigherPriorityTaskWoken = pdFALSE;

	// receive terminal user commands
	if (huart->Instance == USART2)
	{
		/// Receive one byte in interrupt mode
		HAL_UART_Receive_IT(&huart2, &uart2_char, 1);

		/// Zet de byte op de UART_queue
		xQueueSendFromISR(hUART_Queue, &uart2_char, &xHigherPriorityTaskWoken);
		if (xHigherPriorityTaskWoken != pdFALSE)
			portYIELD_FROM_ISR(xHigherPriorityTaskWoken); // force context switch
	}

	// receive GPS-data
	if (huart->Instance == UART4)
	{
		/// Receive one byte in interrupt mode
		HAL_UART_Receive_IT(&huart4, &uart4_char, 1);

		/// Zet de byte op de GPS_queue
		xQueueSendFromISR(hGPS_Queue, &uart4_char, &xHigherPriorityTaskWoken);
		if (xHigherPriorityTaskWoken != pdFALSE)
			portYIELD_FROM_ISR(xHigherPriorityTaskWoken); // force context switch
	}

}

/* USER CODE END 4 */

void StartDefaultTask(void *argument)
{
  /* USER CODE BEGIN 5 */
  unsigned char byte1, byte2;

  CreateHandles();
  CreateTasks();

  // start the interrupt handlers after all handles are created
  HAL_UART_Receive_IT(&huart2, &byte2, 1); //start the UART2 interrupt engine for reading
  HAL_UART_Receive_IT(&huart4, &byte1, 1); //start the UART1 interrupt engine GPS

  UART_putint(byte2); UART_puts("\r\n"); // deze byte is nog een bug.

  /* Infinite loop */
  for(;;)
  {
    osDelay(1);
    vTaskDelete(defaultTaskHandle); // remove this default task
  }
  /* USER CODE END 5 */
}

void HAL_TIM_PeriodElapsedCallback(TIM_HandleTypeDef *htim)
{
  if (htim->Instance == TIM1) {
    HAL_IncTick();
  }
}

void Error_Handler(void)
{
  __disable_irq();
  while (1)
  {
  }
}
